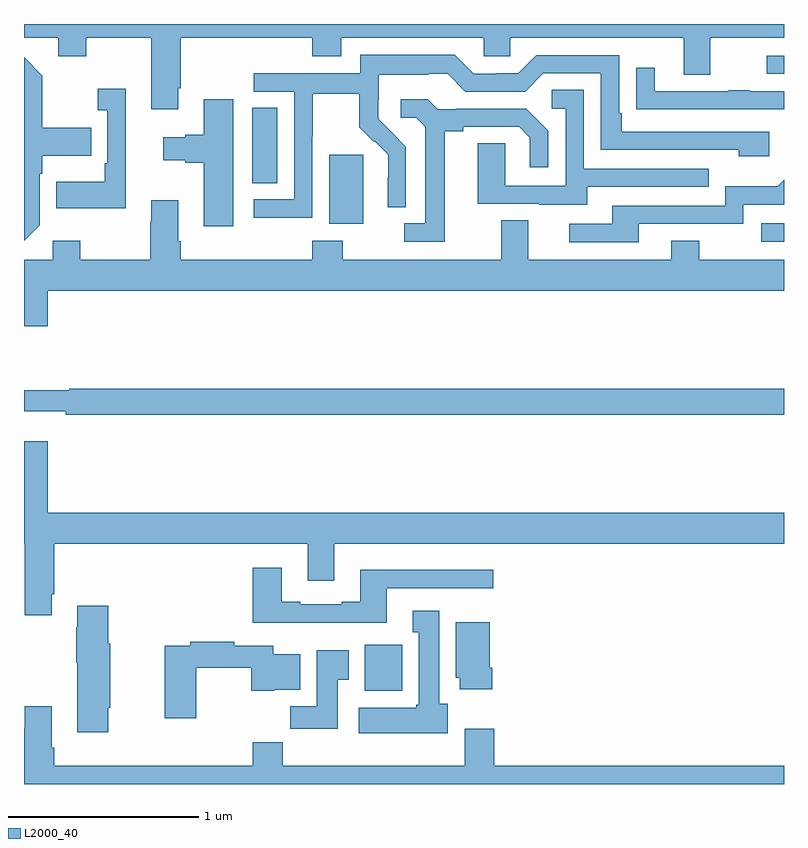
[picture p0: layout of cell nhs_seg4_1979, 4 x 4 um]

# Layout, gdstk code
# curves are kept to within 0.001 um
import gdstk
lib = gdstk.Library(unit=1e-6, precision=1e-09)
def R(c, l, rs):  # rectangles x0, y0, x1, y1
    for r in rs: c.add(gdstk.rectangle(r[:2], r[2:], *l))
def P(c, l, *ps):  # polygons
    for p in ps: c.add(gdstk.Polygon(p, *l))
L2000_40 = (2000, 40)

nhs_seg4_1979 = lib.new_cell('nhs_seg4_1979')
R(nhs_seg4_1979, L2000_40, [(214.793,785.39,214.99,785.632), (216.879,787.755,217,787.851), (214.607,787.85,214.786,788.211), (214.202,788.062,214.333,788.459), (216.909,788.637,217,788.733)])
P(nhs_seg4_1979, L2000_40, [(213.811,788.563),(213.824,788.563),(213.824,788.828),(214.517,788.828),(214.517,788.729),(214.669,788.729),(214.669,788.828),(215.421,788.828),(215.421,788.73),(215.559,788.73),(215.559,788.828),(216.473,788.828),(216.473,788.634),(216.613,788.634),(216.613,788.828),(217,788.828),(217,788.9),(213,788.9),(213,788.828),(213.179,788.828),(213.179,788.729),(213.327,788.729),(213.327,788.828),(213.671,788.828),(213.671,788.451),(213.811,788.451)],
  [(214.518,788.308),(214.521,788.308),(214.521,788.532),(214.765,788.532),(214.765,788.357),(214.842,788.28),(214.845,788.283),(214.916,788.213),(214.916,788.09),(214.914,788.09),(214.914,787.936),(215.01,787.936),(215.01,788.254),(214.864,788.402),(214.864,788.499),(214.866,788.499),(214.866,788.633),(215.129,788.633),(215.129,788.637),(215.229,788.637),(215.322,788.544),(215.637,788.544),(215.733,788.64),(216.036,788.64),(216.036,788.238),(216.761,788.238),(216.761,788.204),(216.922,788.204),(216.922,788.334),(216.145,788.334),(216.145,788.431),(216.132,788.431),(216.132,788.736),(215.697,788.736),(215.601,788.64),(215.483,788.64),(215.483,788.637),(215.367,788.637),(215.267,788.737),(214.77,788.737),(214.77,788.64),(214.209,788.64),(214.209,788.544),(214.422,788.544),(214.422,787.977),(214.209,787.977),(214.209,787.879),(214.518,787.879)],
  [(213.084,787.842),(213.084,788.111),(213.097,788.111),(213.097,788.207),(213.353,788.207),(213.353,788.355),(213.097,788.355),(213.097,788.627),(213,788.724),(213,787.758)],
  [(217,788.547),(216.821,788.547),(216.821,788.552),(216.709,788.552),(216.709,788.547),(216.319,788.547),(216.319,788.671),(216.223,788.671),(216.223,788.452),(216.325,788.452),(216.325,788.451),(217,788.451)],
  [(213.536,788.56),(213.387,788.56),(213.387,788.447),(213.438,788.447),(213.438,788.167),(213.426,788.167),(213.426,788.071),(213.169,788.071),(213.169,787.931),(213.536,787.931)],
  [(215.965,788.043),(216.605,788.043),(216.605,788.139),(215.946,788.139),(215.946,788.555),(215.778,788.555),(215.778,788.454),(215.85,788.454),(215.85,788.049),(215.532,788.049),(215.532,788.273),(215.387,788.273),(215.387,787.953),(215.711,787.953),(215.711,787.949),(215.965,787.949)],
  [(215.215,788.336),(215.311,788.336),(215.311,788.358),(215.606,788.358),(215.663,788.301),(215.663,788.145),(215.76,788.145),(215.76,788.338),(215.644,788.454),(215.272,788.454),(215.272,788.451),(215.178,788.451),(215.126,788.503),(214.983,788.503),(214.983,788.406),(215.064,788.406),(215.111,788.359),(215.111,787.851),(215.001,787.851),(215.001,787.755),(215.215,787.755)],
  [(214.102,788.503),(213.947,788.503),(213.947,788.318),(213.848,788.318),(213.848,788.305),(213.732,788.305),(213.732,788.183),(213.848,788.183),(213.848,788.171),(213.947,788.171),(213.947,787.836),(214.102,787.836)],
  [(216.235,787.848),(216.786,787.848),(216.786,787.95),(217,787.95),(217,788.08),(216.967,788.047),(216.69,788.047),(216.69,787.944),(216.095,787.944),(216.095,787.848),(215.871,787.848),(215.871,787.752),(216.235,787.752)],
  [(213.124,787.496),(217,787.496),(217,787.66),(216.555,787.66),(216.555,787.759),(216.407,787.759),(216.407,787.66),(215.653,787.66),(215.653,787.868),(215.513,787.868),(215.513,787.66),(214.677,787.66),(214.677,787.759),(214.517,787.759),(214.517,787.66),(213.824,787.66),(213.824,787.756),(213.811,787.756),(213.811,787.972),(213.671,787.972),(213.671,787.859),(213.664,787.859),(213.664,787.66),(213.297,787.66),(213.297,787.759),(213.15,787.759),(213.15,787.66),(213,787.66),(213,787.308),(213.124,787.308)],
  [(217,786.98),(213.238,786.98),(213.238,786.973),(213,786.973),(213,786.863),(213.22,786.863),(213.22,786.844),(217,786.844)],
  [(213.145,785.899),(213.158,785.899),(213.158,786.164),(214.493,786.164),(214.493,785.97),(214.633,785.97),(214.633,786.164),(217,786.164),(217,786.328),(213.124,786.328),(213.124,786.703),(213,786.703),(213,786.164),(213.005,786.164),(213.005,785.787),(213.145,785.787)],
  [(214.909,785.931),(215.47,785.931),(215.47,786.028),(214.769,786.028),(214.769,785.86),(214.673,785.86),(214.673,785.847),(214.453,785.847),(214.453,785.86),(214.357,785.86),(214.357,786.037),(214.205,786.037),(214.205,785.75),(214.909,785.75)],
  [(213.444,785.301),(213.454,785.301),(213.454,785.637),(213.444,785.637),(213.444,785.839),(213.281,785.839),(213.281,785.726),(213.274,785.726),(213.274,785.537),(213.281,785.537),(213.281,785.172),(213.444,785.172)],
  [(215.23,785.322),(215.185,785.322),(215.185,785.812),(215.045,785.812),(215.045,785.699),(215.078,785.699),(215.078,785.316),(215.065,785.316),(215.065,785.302),(214.761,785.302),(214.761,785.168),(215.23,785.168)],
  [(215.465,785.512),(215.452,785.512),(215.452,785.752),(215.273,785.752),(215.273,785.46),(215.294,785.46),(215.294,785.4),(215.465,785.4)],
  [(213.906,785.512),(214.195,785.512),(214.195,785.39),(214.32,785.39),(214.32,785.396),(214.453,785.396),(214.453,785.584),(214.312,785.584),(214.312,785.628),(214.106,785.628),(214.106,785.648),(213.874,785.648),(213.874,785.628),(213.74,785.628),(213.74,785.247),(213.906,785.247)],
  [(214.651,785.449),(214.708,785.449),(214.708,785.605),(214.541,785.605),(214.541,785.308),(214.402,785.308),(214.402,785.19),(214.651,785.19)],
  [(217,784.996),(215.474,784.996),(215.474,785.191),(215.321,785.191),(215.321,784.996),(214.361,784.996),(214.361,785.12),(214.205,785.12),(214.205,784.996),(213.158,784.996),(213.158,785.092),(213.145,785.092),(213.145,785.308),(213.005,785.308),(213.005,785.195),(213,785.195),(213,784.9),(217,784.9)])

lib.write_gds('nhs_seg4_1979.gds')
